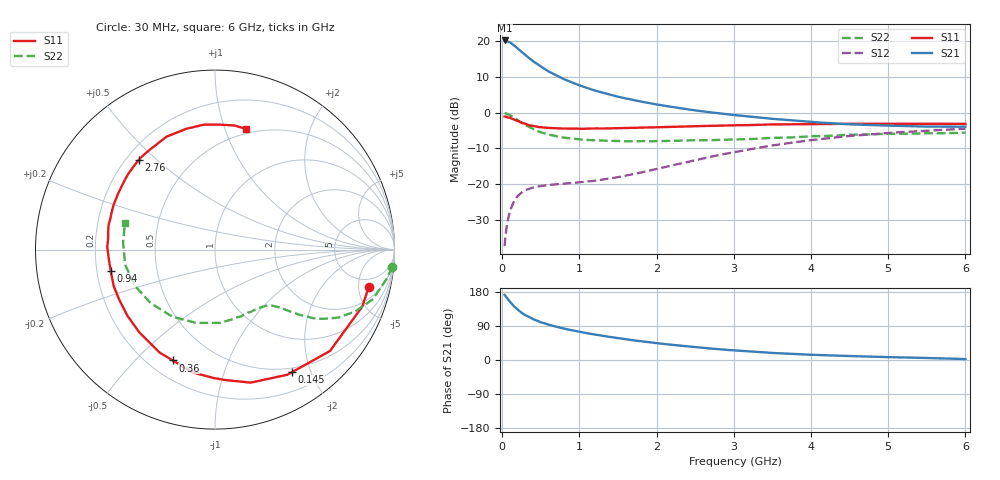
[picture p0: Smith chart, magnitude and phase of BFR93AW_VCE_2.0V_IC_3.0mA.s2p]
! Infineon Technologies  Discrete & RF Semiconductors
! BFR93AW
! VCE =  2.0 V,  IC =  3.0 mA
! Common Emitter S-Parameters:  Nov 2015
# GHz  S  MA  R  50
!  f  S11  S21  S12  S22
! GHz  MAG  ANG  MAG  ANG  MAG  ANG  MAG  ANG
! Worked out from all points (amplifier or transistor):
!   206 points, 30 MHz to 6 GHz, reference 50 ohm
!   highest |S21| = 20.2 dB at 30 MHz (marker M1)
!   |S21| within 3 dB of that: start of sweep to 240.2 MHz
!   unconditionally stable (mu >= 1): 1.089 GHz to 2.479 GHz
!   at 200 MHz: K = 0.21, MSG = 20.7 dB, |S12| = -23.3 dB
!   at 1.56 GHz: K = 1.14, MAG = 8.7 dB, |S12| = -17.8 dB
!   at 6 GHz: K = 0.99, MSG = 0.3 dB, |S12| = -4.5 dB
!   S11 on the Smith chart (normalised r, x): 30 MHz: 3.47, -6.50; 145 MHz: 0.44, -1.72; 360 MHz: 0.30, -0.65; 940 MHz: 0.26, -0.10; 2.76 GHz: 0.25, +0.44; 6 GHz: 0.46, +1.19
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0.03  0.8815 -13.7  10.22 171.8  0.0135 81.4  0.9913 -5.6
0.05  0.88 -21.1  10.12 166.1  0.0224 77.5  0.9737 -9.2
0.1  0.8542 -41.4  9.623 153.4  0.0421 68.8  0.9224 -17.4
0.145  0.8064 -58.0  8.839 143.2  0.0553 60.5  0.8596 -23.2
0.15  0.8055 -59.9  8.771 141.9  0.0568 59.8  0.8532 -23.9
0.2  0.7674 -75.0  7.924 132.7  0.0681 53.0  0.7856 -28.8
0.26  0.7149 -90.8  6.938 123.4  0.0773 47.2  0.7099 -32.9
0.3  0.6959 -100.1  6.382 118.1  0.0821 44.2  0.6685 -34.9
0.36  0.6609 -110.8  5.659 112.3  0.0864 41.1  0.6184 -36.6
0.4  0.6514 -118.4  5.217 107.6  0.0894 39.3  0.5853 -38.0
0.5  0.6249 -132.4  4.398 99.5  0.0939 36.7  0.529 -40.0
0.6  0.6116 -142.9  3.767 93.2  0.0971 35.7  0.4925 -41.3
0.8  0.5999 -159.9  2.935 82.8  0.1012 36.6  0.4454 -44.5
0.94  0.5932 -168.3  2.544 76.9  0.1042 38.9  0.4292 -46.5
1.04  0.5934 -173.8  2.321 73.0  0.107 40.6  0.4192 -48.8
1.5  0.6084 167.0  1.668 57.7  0.1249 51.0  0.4005 -59.8
2.02  0.6237 149.9  1.29 43.9  0.1643 59.3  0.3996 -75.0
2.76  0.6559 130.3  0.991 29.2  0.2485 61.8  0.4131 -98.0
3.1  0.6653 122.2  0.903 24.1  0.2918 59.7  0.4225 -108.6
4.1  0.6921 101.7  0.728 13.2  0.4232 48.5  0.4681 -143.4
5.1  0.6966 86.2  0.653 7.2  0.5269 34.4  0.506 -173.1
6  0.6946 75.5  0.635 2.5  0.5945 22.7  0.5226 163.8
